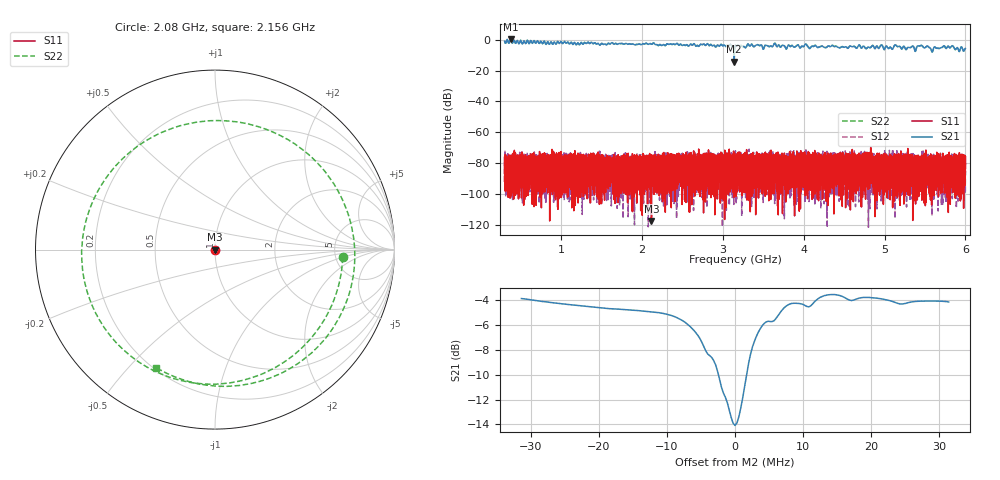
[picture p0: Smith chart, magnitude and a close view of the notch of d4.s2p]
!Agilent Technologies,N5230C,SG49000117,A.08.50.07
!Agilent N5230C: A.08.50.07
!Date: Monday, March 18, 2024 19:20:16
!Correction: S11(Off)
!S21(Off)
!S12(Off)
!S22(Off)
!S2P File: Measurements: S11, S21, S12, S22:
# Hz S  RI  R 50
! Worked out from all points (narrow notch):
!   20001 points, 300 MHz to 6 GHz, reference 50 ohm
!   highest |S21| = 0.43 dB at 373.5 MHz (marker M1); lowest = -14.1 dB at 3.14 GHz (marker M2)
!   notch at M2: 10.5 dB deep, 5.23 MHz wide at half that depth
!   lowest |S11| = -117.7 dB at 2.117 GHz (marker M3), VSWR 1.00, Z = 50 + j2.93e-05 ohm
!   |S11| at or under -10 dB: start of sweep to end of sweep
!   |S22| runs from -14.1 to 0.5 dB; largest |S21 - S12| = 1.1
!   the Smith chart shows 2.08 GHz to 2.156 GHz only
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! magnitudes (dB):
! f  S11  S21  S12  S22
! 300 MHz  -86.4  -1.0  -92.3  -0.9
! 373.5 MHz  -82.8  0.4  -85.7  0.5
! 1.25 GHz  -97.1  -1.8  -92.7  -1.8
! 2.117 GHz  -117.7  -2.9  -79.6  -2.9
! 2.2 GHz  -80.3  -3.8  -88.3  -3.7
! 3.079 GHz  -80.2  -3.4  -82.7  -3.4
! 3.14 GHz  -79.1  -14.1  -77.5  -14.1
! 3.15 GHz  -81.2  -4.4  -79.9  -4.4
! 3.176 GHz  -77.7  -3.8  -76.3  -3.7
! 3.266 GHz  -81.2  -4.5  -76.2  -4.5
! 3.332 GHz  -76.6  -4.2  -85.2  -4.1
! 3.779 GHz  -77.7  -5.7  -78.7  -5.6
! 4.026 GHz  -80.7  -2.8  -84.1  -2.7
! 4.1 GHz  -96.2  -4.2  -86.2  -4.1
! 5.05 GHz  -78.0  -5.8  -85.3  -5.7
! 5.145 GHz  -78.8  -3.7  -77.5  -3.7
! 5.381 GHz  -79.2  -7.5  -93.2  -7.5
! 5.439 GHz  -84.0  -3.9  -84.8  -3.9
! 5.54 GHz  -83.1  -4.5  -81.4  -4.5
! 5.579 GHz  -84.9  -6.9  -83.4  -6.9
! 5.818 GHz  -78.6  -4.8  -86.8  -4.9
! 6 GHz  -80.4  -5.6  -87.9  -5.6
